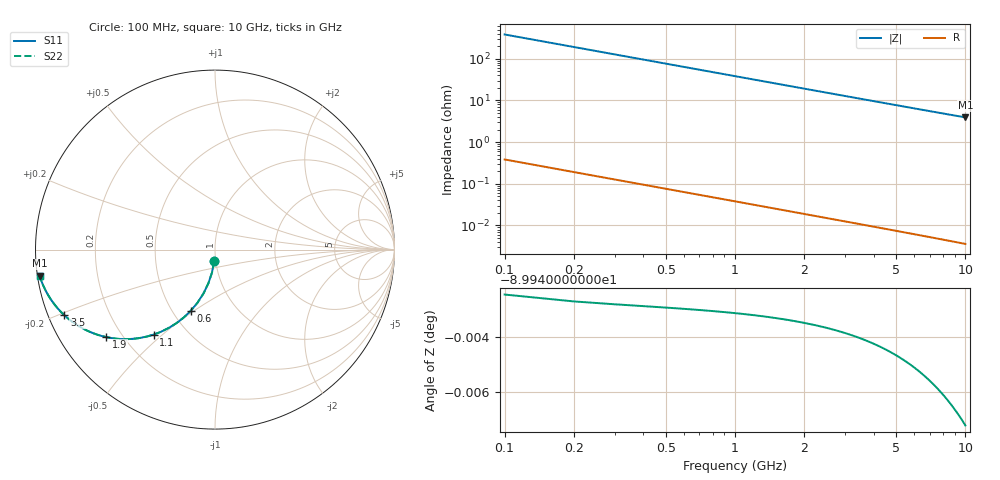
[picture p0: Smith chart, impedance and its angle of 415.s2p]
# Hz S RI R 50.00
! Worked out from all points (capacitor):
!   100 points, 100 MHz to 10 GHz, reference 50 ohm
!   read as one part in shunt: C = 4.17 pF near 100 MHz
!   lowest |Z| = 3.91 ohm at 10 GHz (marker M1)
!   S11 on the Smith chart (normalised r, x): 100 MHz: 0.98, -0.13; 600 MHz: 0.62, -0.49; 1.1 GHz: 0.33, -0.47; 1.9 GHz: 0.14, -0.35; 3.5 GHz: 0.05, -0.21; 10 GHz: 0.01, -0.07
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1e8  -0.00433 -0.0652  0.9957 -0.0652  0.9957 -0.0652  -0.00433 -0.0652
2e8  -0.017 -0.1287  0.983 -0.1288  0.983 -0.1288  -0.017 -0.1287
3e8  -0.0373 -0.189  0.9626 -0.1892  0.9626 -0.1892  -0.0373 -0.189
4e8  -0.0644 -0.2449  0.9355 -0.2452  0.9355 -0.2452  -0.0644 -0.2449
5e8  -0.0971 -0.2954  0.9029 -0.2957  0.9029 -0.2957  -0.0971 -0.2954
6e8  -0.134 -0.3399  0.866 -0.3403  0.866 -0.3403  -0.134 -0.3399
8e8  -0.2155 -0.4104  0.7844 -0.411  0.7844 -0.411  -0.2155 -0.4104
9e8  -0.2579 -0.4367  0.742 -0.4373  0.742 -0.4373  -0.2579 -0.4367
1.1e9  -0.3416 -0.4734  0.6584 -0.4741  0.6584 -0.4741  -0.3416 -0.4734
1.4e9  -0.4564 -0.4971  0.5436 -0.4981  0.5436 -0.4981  -0.4564 -0.4971
1.8e9  -0.5809 -0.4923  0.419 -0.4935  0.419 -0.4935  -0.5809 -0.4923
1.9e9  -0.6069 -0.4873  0.393 -0.4886  0.393 -0.4886  -0.6069 -0.4873
2.2e9  -0.6741 -0.4675  0.3259 -0.4689  0.3259 -0.4689  -0.6741 -0.4675
2.6e9  -0.7427 -0.4358  0.2573 -0.4375  0.2573 -0.4375  -0.7427 -0.4358
3e9  -0.7933 -0.4034  0.2067 -0.4054  0.2067 -0.4054  -0.7933 -0.4034
3.4e9  -0.8312 -0.3729  0.1687 -0.3752  0.1687 -0.3752  -0.8312 -0.3729
3.5e9  -0.8392 -0.3657  0.1608 -0.368  0.1608 -0.368  -0.8392 -0.3657
4.2e9  -0.8824 -0.3202  0.1176 -0.3231  0.1176 -0.3231  -0.8824 -0.3202
5.1e9  -0.917 -0.2737  0.083 -0.2771  0.083 -0.2771  -0.917 -0.2737
6.7e9  -0.95 -0.215  0.0499 -0.2196  0.0499 -0.2196  -0.95 -0.215
8.4e9  -0.9676 -0.1736  0.0323 -0.1794  0.0323 -0.1794  -0.9676 -0.1736
1e10  -0.9769 -0.1461  0.023 -0.153  0.023 -0.153  -0.9769 -0.1461
